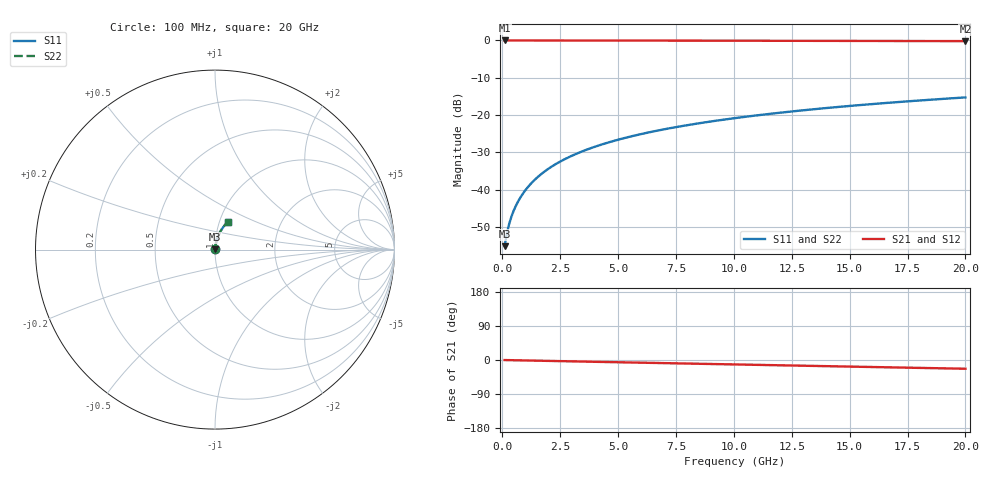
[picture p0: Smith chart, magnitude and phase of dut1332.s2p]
! Touchstone file exported from HFSS 2026.1.0
!  File:  C:/ffzhzh/LocalFiles/Ansys_Project_Files/temp_train_BSMRDL_1332_1783178688_43440.aedt
!  Generated:  11:26:03 PM Jul  4, 2026
!  Design:  BSMRDL
!  Project:  temp_train_BSMRDL_1332_1783178688_43440
! Variables:
!  h_bsmrdl = 4.04um
!  h_ox = 20um
!  h_rdl = 5um
!  h_sub = 80um
!  h_tmrdl = 5um
!  h_tsv = 80um
!  h_via = 3um
!  l_bsmrdl = 341.53um
!  l_sub = 741.53um
!  l_tmrdl = 200um
!  m_sub = 200um
!  pitch = 44.22um
!  r_tsv = 6um
!  s_tmrdl = 10um
!  w_bsmrdl = 26.56um
!  w_sub = 500um
!  w_tmrdl = 12um
!  x_tsv_center1 = 206um
!  x_tsv_center2 = 574.09um
!  x_tsv_center3 = 786.09um
!  x_tsv_center4 = 1154.18um
!  x_tsv_center5 = 1366.18um
!  x_tsv_center6 = 1734.27um
# GHz S MA R 50.000000
! Terminal data exported
! Port[1] = BSM_RDL1_1_T1
! Port[2] = BSM_RDL1_1_T2
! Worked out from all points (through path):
!   200 points, 100 MHz to 20 GHz, reference 50 ohm
!   highest |S21| = -0.01 dB at 100 MHz (marker M1); lowest = -0.2 dB at 20 GHz (marker M2)
!   group delay of S21, straight-line fit = 3.2 ps
!   lowest |S11| = -55.1 dB at 100 MHz (marker M3), VSWR 1.00, Z = 50.1 + j0.111 ohm
!   |S11| at or under -10 dB: start of sweep to end of sweep
!   |S22| runs from -55.1 to -15.3 dB; largest |S21 - S12| = 2.1e-15
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0.1  0.001752 39.1  0.9986 -0.1  0.9986 -0.1  0.001752 39.1
! Gamma 0 0 0 0
! Port Impedance 50 0 50 0
0.2  0.002604 55.6  0.9985 -0.3  0.9985 -0.3  0.002605 55.6
0.3  0.00351 63.1  0.9984 -0.4  0.9984 -0.4  0.003511 63.1
0.4  0.004412 67.5  0.9983 -0.5  0.9983 -0.5  0.004413 67.5
0.5  0.005311 70.5  0.9983 -0.6  0.9983 -0.6  0.005312 70.5
0.6  0.006212 72.7  0.9982 -0.7  0.9982 -0.7  0.006213 72.7
0.8  0.008029 75.8  0.9982 -1.0  0.9982 -1.0  0.008031 75.8
1.1  0.01079 78.5  0.9981 -1.3  0.9981 -1.3  0.01079 78.5
1.3  0.01264 79.5  0.998 -1.6  0.998 -1.6  0.01265 79.5
1.6  0.01544 80.5  0.9979 -1.9  0.9979 -1.9  0.01544 80.5
2.1  0.0201 81.3  0.9977 -2.5  0.9977 -2.5  0.0201 81.3
2.7  0.02568 81.6  0.9974 -3.2  0.9974 -3.2  0.02568 81.6
3.5  0.03308 81.3  0.9969 -4.2  0.9969 -4.2  0.03308 81.3
4.2  0.03948 80.8  0.9964 -5.0  0.9964 -5.0  0.03948 80.8
5  0.04673 80.2  0.9957 -5.9  0.9957 -5.9  0.04673 80.2
5.9  0.0548 79.3  0.995 -7.0  0.995 -7.0  0.0548 79.3
6.8  0.06279 78.4  0.9942 -8.0  0.9942 -8.0  0.06279 78.4
8.3  0.07592 76.9  0.9927 -9.8  0.9927 -9.8  0.07592 76.9
10.1  0.09144 75.1  0.9909 -11.8  0.9909 -11.8  0.09145 75.1
13.4  0.1193 71.7  0.9872 -15.6  0.9872 -15.6  0.1193 71.6
16.7  0.1463 68.2  0.9829 -19.4  0.9829 -19.4  0.1463 68.2
20  0.1723 64.7  0.9782 -23.1  0.9782 -23.1  0.1723 64.7
